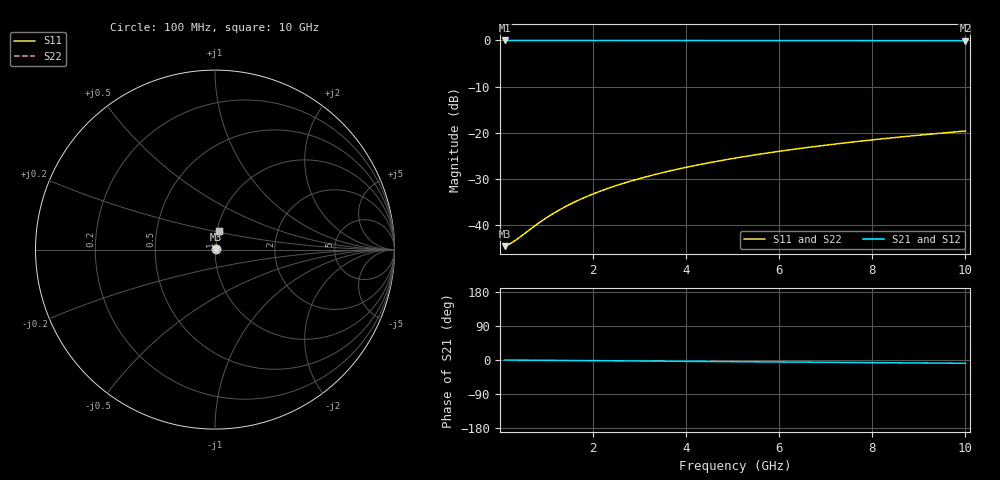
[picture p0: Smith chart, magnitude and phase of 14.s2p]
# Hz S RI R 50.00
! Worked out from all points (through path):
!   100 points, 100 MHz to 10 GHz, reference 50 ohm
!   highest |S21| = -0.05 dB at 100 MHz (marker M1); lowest = -0.1 dB at 10 GHz (marker M2)
!   group delay of S21, straight-line fit = 2.41 ps
!   lowest |S11| = -44.5 dB at 100 MHz (marker M3), VSWR 1.01, Z = 50.6 + j0.105 ohm
!   |S11| at or under -10 dB: start of sweep to end of sweep
!   |S22| runs from -44.5 to -19.6 dB; largest |S21 - S12| = 0
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1e8  0.00589 0.00104  0.9941 -0.00151  0.9941 -0.00151  0.00589 0.00104
2e8  0.00593 0.00208  0.9941 -0.00301  0.9941 -0.00301  0.00593 0.00208
3e8  0.00597 0.00312  0.994 -0.00452  0.994 -0.00452  0.00597 0.00312
4e8  0.006 0.00417  0.994 -0.00602  0.994 -0.00602  0.006 0.00417
8e8  0.00614 0.00833  0.9938 -0.012  0.9938 -0.012  0.00614 0.00833
1.1e9  0.00627 0.0115  0.9937 -0.0166  0.9937 -0.0166  0.00627 0.0115
1.4e9  0.00642 0.0146  0.9936 -0.0211  0.9936 -0.0211  0.00642 0.0146
1.6e9  0.00653 0.0167  0.9934 -0.0241  0.9934 -0.0241  0.00653 0.0167
1.8e9  0.00666 0.0187  0.9933 -0.0271  0.9933 -0.0271  0.00666 0.0187
2.1e9  0.00686 0.0218  0.9931 -0.0316  0.9931 -0.0316  0.00686 0.0218
2.5e9  0.00718 0.026  0.9927 -0.0376  0.9927 -0.0376  0.00718 0.026
2.9e9  0.00755 0.0301  0.9924 -0.0436  0.9924 -0.0436  0.00755 0.0301
3.4e9  0.00807 0.0353  0.9918 -0.0511  0.9918 -0.0511  0.00807 0.0353
3.8e9  0.00854 0.0395  0.9913 -0.0571  0.9913 -0.0571  0.00854 0.0395
4.2e9  0.00907 0.0436  0.9907 -0.0631  0.9907 -0.0631  0.00907 0.0436
4.6e9  0.00964 0.0477  0.9901 -0.0691  0.9901 -0.0691  0.00964 0.0477
5.1e9  0.0104 0.0528  0.9893 -0.0765  0.9893 -0.0765  0.0104 0.0528
5.9e9  0.0118 0.061  0.9878 -0.0884  0.9878 -0.0884  0.0118 0.061
6.7e9  0.0135 0.0692  0.986 -0.1003  0.986 -0.1003  0.0135 0.0692
7.5e9  0.0153 0.0773  0.9841 -0.1121  0.9841 -0.1121  0.0153 0.0773
8.4e9  0.0175 0.0864  0.9817 -0.1254  0.9817 -0.1254  0.0175 0.0864
1e10  0.0221 0.1023  0.9767 -0.1488  0.9767 -0.1488  0.0221 0.1023
